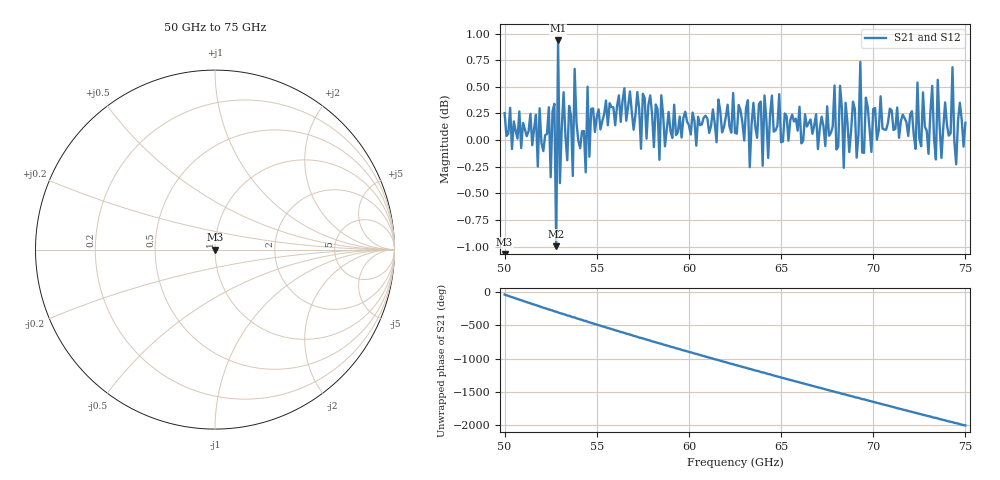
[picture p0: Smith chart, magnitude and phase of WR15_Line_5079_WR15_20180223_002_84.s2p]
# GHZ S RI R 50
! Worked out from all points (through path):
!   251 points, 50 GHz to 75 GHz, reference 50 ohm
!   highest |S21| = 0.94 dB at 52.9 GHz (marker M1); lowest = -1.0 dB at 52.8 GHz (marker M2)
!   lowest |S11| = - dB at 50 GHz (marker M3), VSWR 1.00, Z = 50 + j9.02e-16 ohm
!   |S11| at or under -10 dB: start of sweep to end of sweep
!   |S22| runs from - to - dB; largest |S21 - S12| = 1e-14
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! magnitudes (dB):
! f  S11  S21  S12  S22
! 50 GHz  -  0.3  0.3  -
! 51.8 GHz  -  -0.2  -0.2  -
! 52.4 GHz  -  0.3  0.3  -
! 52.5 GHz  -  -0.3  -0.3  -
! 52.7 GHz  -  0.3  0.3  -
! 52.8 GHz  -  -1.0  -1.0  -
! 52.9 GHz  -  0.9  0.9  -
! 53 GHz  -  -0.4  -0.4  -
! 53.2 GHz  -  0.4  0.4  -
! 53.7 GHz  -  -0.3  -0.3  -
! 53.8 GHz  -  0.7  0.7  -
! 54.2 GHz  -  0.1  0.1  -
! 57.9 GHz  -  0.4  0.4  -
! 58.4 GHz  -  -0.2  -0.2  -
! 58.5 GHz  -  0.4  0.4  -
! 62.5 GHz  -  0.1  0.1  -
! 66.7 GHz  -  0.1  0.1  -
! 69.1 GHz  -  -0.2  -0.2  -
! 69.3 GHz  -  0.7  0.7  -
! 69.4 GHz  -  -0.1  -0.1  -
! 70.9 GHz  -  0.3  0.3  -
! 75 GHz  -  0.2  0.2  -
